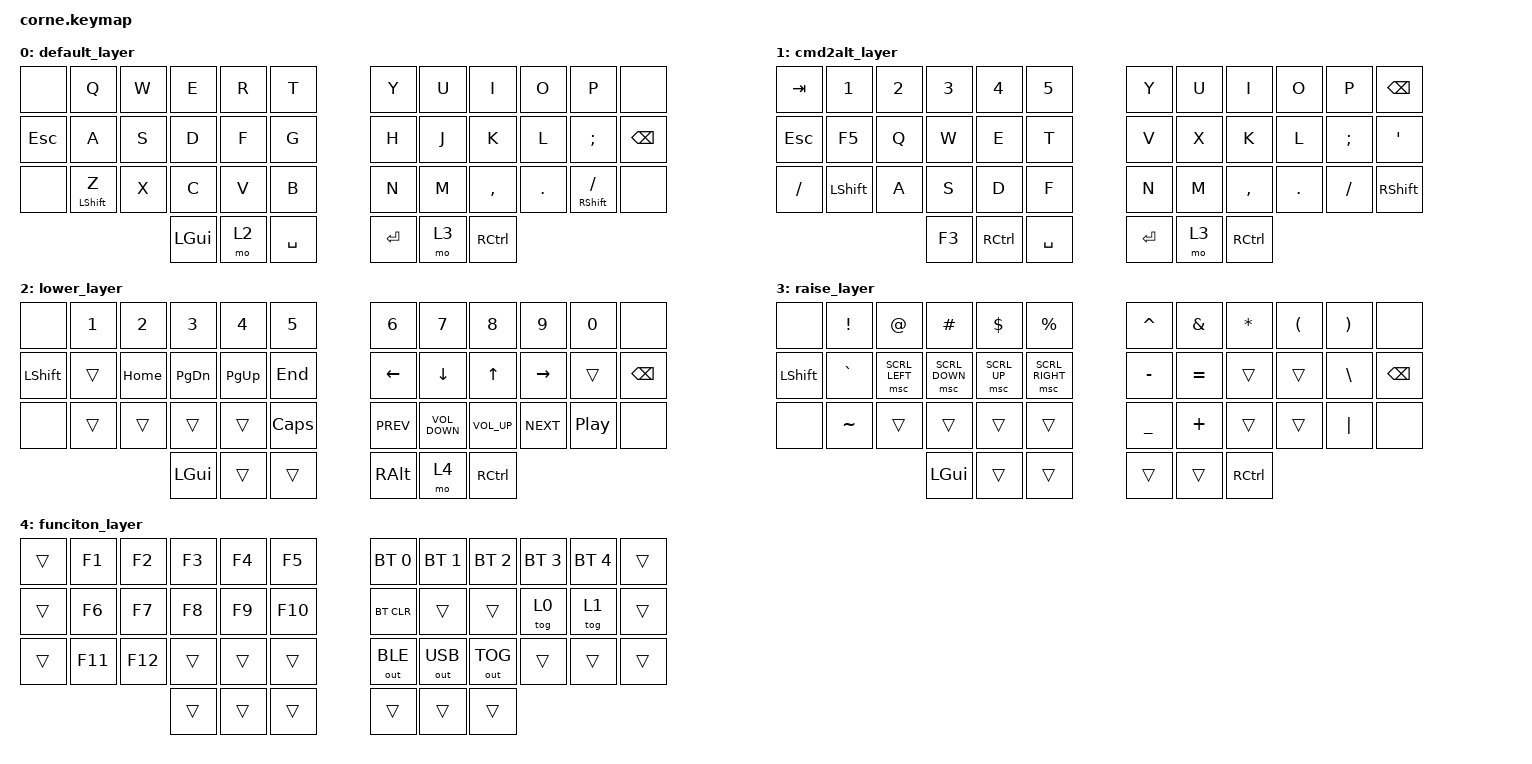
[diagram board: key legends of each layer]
/*
 * Copyright (c) 2020 The ZMK Contributors
 *
 * SPDX-License-Identifier: MIT
 */

#define ZMK_POINTING_DEFAULT_SCRL_VAL 20

#include <behaviors.dtsi>
#include <dt-bindings/zmk/bt.h>
#include <dt-bindings/zmk/keys.h>
#include <dt-bindings/zmk/outputs.h>
#include <dt-bindings/zmk/pointing.h>

/ {
    combos {
        compatible = "zmk,combos";

        left_parenthesis {
            bindings = <&kp LEFT_PARENTHESIS>;
            key-positions = <4 5>;
        };

        right_parenthesis {
            bindings = <&kp RIGHT_PARENTHESIS>;
            key-positions = <6 7>;
        };

        left_brace {
            bindings = <&kp LEFT_BRACE>;
            key-positions = <16 17>;
        };

        right_brace {
            bindings = <&kp RIGHT_BRACE>;
            key-positions = <18 19>;
        };

        left_bracket {
            bindings = <&kp LEFT_BRACKET>;
            key-positions = <28 29>;
        };

        right_bracket {
            bindings = <&kp RIGHT_BRACKET>;
            key-positions = <30 31>;
        };

        quotes {
            bindings = <&kp SQT>;
            key-positions = <21 22>;
        };

        tab {
            bindings = <&kp TAB>;
            key-positions = <14 15>;
        };
    };

    keymap {
        compatible = "zmk,keymap";

        default_layer {
            // -----------------------------------------------------------------------------------------
            // |  TAB |  Q  |  W  |  E  |  R  |  T  |   |  Y  |  U   |  I  |  O  |  P  | BSPC |
            // | CTRL |  A  |  S  |  D  |  F  |  G  |   |  H  |  J   |  K  |  L  |  ;  |  '   |
            // | SHFT |  Z  |  X  |  C  |  V  |  B  |   |  N  |  M   |  ,  |  .  |  /  | ESC  |
            //                    | GUI | LWR | SPC |   | ENT | RSE  | ALT |

            bindings = <
&none       &kp Q             &kp W  &kp E         &kp R  &kp T        &kp Y      &kp U  &kp I              &kp O    &kp P                 &none
&kp ESCAPE  &kp A             &kp S  &kp D         &kp F  &kp G        &kp H      &kp J  &kp K              &kp L    &kp SEMI              &kp BACKSPACE
&none       &mt LEFT_SHIFT Z  &kp X  &kp C         &kp V  &kp B        &kp N      &kp M  &kp COMMA          &kp DOT  &mt RIGHT_SHIFT FSLH  &none
                                     &kp LEFT_GUI  &mo 2  &kp SPACE    &kp ENTER  &mo 3  &kp RIGHT_CONTROL
            >;
        };

        cmd2alt_layer {
            // -----------------------------------------------------------------------------------------
            // |  TAB |  Q  |  W  |  E  |  R  |  T  |   |  Y  |  U   |  I  |  O  |  P  | BSPC |
            // | CTRL |  A  |  S  |  D  |  F  |  G  |   |  H  |  J   |  K  |  L  |  ;  |  '   |
            // | SHFT |  Z  |  X  |  C  |  V  |  B  |   |  N  |  M   |  ,  |  .  |  /  | ESC  |
            //                    | ALT | LWR | SPC |   | ENT | RSE  | ALT |

            bindings = <
&kp TAB     &kp N1     &kp N2  &kp N3  &kp N4     &kp N5       &kp Y      &kp U  &kp I      &kp O    &kp P     &kp BSPC
&kp ESCAPE  &kp F5     &kp Q   &kp W   &kp E      &kp T        &kp V      &kp X  &kp K      &kp L    &kp SEMI  &kp SQT
&kp FSLH    &kp LSHFT  &kp A   &kp S   &kp D      &kp F        &kp N      &kp M  &kp COMMA  &kp DOT  &kp FSLH  &kp RIGHT_SHIFT
                               &kp F3  &kp RCTRL  &kp SPACE    &kp ENTER  &mo 3  &kp RCTRL
            >;
        };

        lower_layer {
            // -----------------------------------------------------------------------------------------
            // |  TAB |  1  |  2  |  3  |  4  |  5  |   |  6  |  7  |  8  |  9  |  0  | BSPC |
            // | BTCLR| BT1 | BT2 | BT3 | BT4 | BT5 |   | LFT | DWN |  UP | RGT |     |      |
            // | SHFT |     |     |     |     |     |   |     |     |     |     |     |      |
            //                    | GUI |     | SPC |   | ENT |     | ALT |

            bindings = <
&none           &kp N1  &kp N2    &kp N3         &kp N4       &kp N5          &kp N6         &kp N7             &kp N8             &kp N9      &kp N0    &none
&kp LEFT_SHIFT  &trans  &kp HOME  &kp PAGE_DOWN  &kp PAGE_UP  &kp END         &kp LEFT       &kp DOWN           &kp UP             &kp RIGHT   &trans    &kp BACKSPACE
&none           &trans  &trans    &trans         &trans       &kp CAPSLOCK    &kp C_PREV     &kp C_VOLUME_DOWN  &kp C_VOLUME_UP    &kp C_NEXT  &kp C_PP  &none
                                  &kp LEFT_GUI   &trans       &trans          &kp RIGHT_ALT  &mo 4              &kp RIGHT_CONTROL
            >;
        };

        raise_layer {
            // -----------------------------------------------------------------------------------------
            // |  TAB |  !  |  @  |  #  |  $  |  %  |   |  ^  |  &  |  *  |  (  |  )  | BSPC |
            // | CTRL |     |     |     |     |     |   |  -  |  =  |  [  |  ]  |  \  |  `   |
            // | SHFT |     |     |     |     |     |   |  _  |  +  |  {  |  }  | "|" |  ~   |
            //                    | GUI |     | SPC |   | ENT |     | ALT |

            bindings = <
&none           &kp EXCL   &kp AT          &kp HASH        &kp DLLR      &kp PRCNT          &kp CARET  &kp AMPS   &kp ASTRK          &kp LPAR  &kp RPAR       &none
&kp LEFT_SHIFT  &kp GRAVE  &msc SCRL_LEFT  &msc SCRL_DOWN  &msc SCRL_UP  &msc SCRL_RIGHT    &kp MINUS  &kp EQUAL  &trans             &trans    &kp BACKSLASH  &kp BACKSPACE
&none           &kp TILDE  &trans          &trans          &trans        &trans             &kp UNDER  &kp PLUS   &trans             &trans    &kp PIPE       &none
                                           &kp LEFT_GUI    &trans        &trans             &trans     &trans     &kp RIGHT_CONTROL
            >;
        };

        funciton_layer {
            bindings = <
&trans  &kp F1   &kp F2   &kp F3  &kp F4  &kp F5     &bt BT_SEL 0  &bt BT_SEL 1  &bt BT_SEL 2  &bt BT_SEL 3  &bt BT_SEL 4  &trans
&trans  &kp F6   &kp F7   &kp F8  &kp F9  &kp F10    &bt BT_CLR    &trans        &trans        &tog 0        &tog 1        &trans
&trans  &kp F11  &kp F12  &trans  &trans  &trans     &out OUT_BLE  &out OUT_USB  &out OUT_TOG  &trans        &trans        &trans
                          &trans  &trans  &trans     &trans        &trans        &trans
            >;
        };
    };
};
